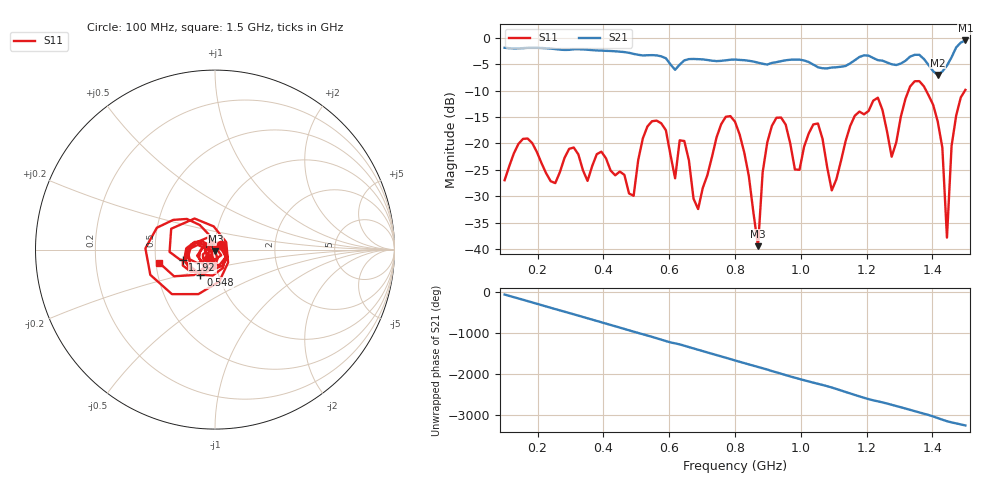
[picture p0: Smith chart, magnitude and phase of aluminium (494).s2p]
! NanoVNA-App
! Date: 2025-09-25 14:59:07
! Start: 100MHz Stop: 1,5GHz Points: 101
! S-Parameter data: F S11 S21 S12 S22
# Hz S RI R 50
!  Frequency  S11_Real  S11_Imag  S21_Real  S21_Imag  S12_Real  S12_Imag  S22_Real  S22_Imag
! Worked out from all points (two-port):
!   101 points, 100 MHz to 1.5 GHz, reference 50 ohm
!   highest |S21| = -0.54 dB at 1.5 GHz (marker M1); lowest = -7.1 dB at 1.416 GHz (marker M2)
!   |S21| within 3 dB of the highest: start of sweep to 575.8 MHz; 1.459 GHz to end of sweep (the widest 2 of 4)
!   lowest |S11| = -39.4 dB at 870 MHz (marker M3), VSWR 1.02, Z = 50.2 - j1.05 ohm
!   |S11| at or under -10 dB: start of sweep to 1.327 GHz; 1.381 GHz to 1.499 GHz (118.2 MHz wide, 8.21 % of centre)
!   S12 and S22 are empty: the file has one direction only
!   S11 on the Smith chart (normalised r, x): 100 MHz: 1.07, +0.06; 548 MHz: 0.82, -0.24; 1.192 GHz: 0.69, -0.08; 1.5 GHz: 0.52, -0.08
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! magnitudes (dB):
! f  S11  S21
! 100 MHz  -27.0  -1.9
! 156 MHz  -19.1  -2.0
! 338 MHz  -25.1  -2.2
! 492 MHz  -29.9  -3.1
! 548 MHz  -15.8  -3.3
! 576 MHz  -16.2  -3.5
! 646 MHz  -19.6  -4.3
! 688 MHz  -32.4  -4.1
! 800 MHz  -15.9  -4.1
! 870 MHz  -39.4  -4.7
! 912 MHz  -16.7  -4.8
! 996 MHz  -25.0  -4.2
! 1.038 GHz  -16.4  -5.1
! 1.094 GHz  -28.9  -5.7
! 1.192 GHz  -14.5  -3.3
! 1.234 GHz  -11.4  -4.3
! 1.276 GHz  -22.5  -5.0
! 1.346 GHz  -8.2  -3.2
! 1.416 GHz  -15.9  -7.1
! 1.444 GHz  -37.8  -5.3
! 1.458 GHz  -20.5  -3.7
! 1.5 GHz  -9.9  -0.5
